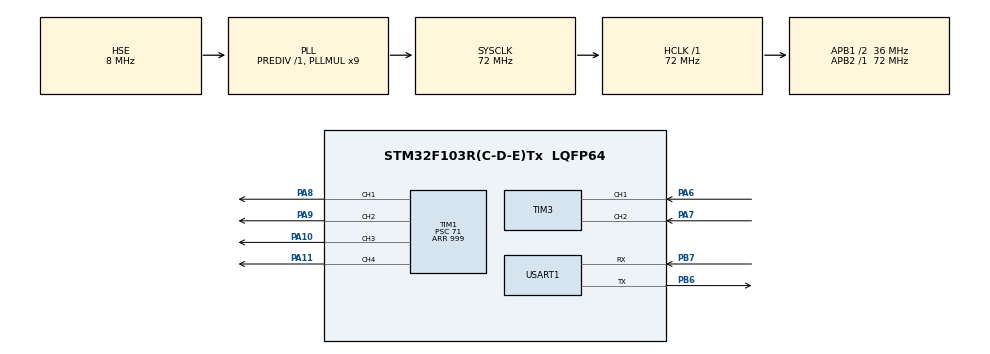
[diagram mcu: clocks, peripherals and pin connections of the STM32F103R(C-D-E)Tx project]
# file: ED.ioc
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Mcu.Family=STM32F1
Mcu.Name=STM32F103R(C-D-E)Tx
Mcu.Package=LQFP64
NVIC.PriorityGroup=NVIC_PRIORITYGROUP_4
NVIC.TIM2_IRQn=true\:0\:0\:false\:false\:true\:true\:true\:true
PA10.Signal=S_TIM1_CH3
PA11.Signal=S_TIM1_CH4
PA13.Mode=Serial_Wire
PA13.Signal=SYS_JTMS-SWDIO
PA14.Mode=Serial_Wire
PA14.Signal=SYS_JTCK-SWCLK
PA6.Signal=S_TIM3_CH1
PA7.Signal=S_TIM3_CH2
PA8.Signal=S_TIM1_CH1
PA9.Signal=S_TIM1_CH2
PB6.Mode=Asynchronous
PB6.Signal=USART1_TX
PB7.Mode=Asynchronous
PB7.Signal=USART1_RX
PD0-OSC_IN.Mode=HSE-External-Oscillator
PD0-OSC_IN.Signal=RCC_OSC_IN
PD1-OSC_OUT.Mode=HSE-External-Oscillator
PD1-OSC_OUT.Signal=RCC_OSC_OUT
ProjectManager.HeapSize=0x200
ProjectManager.StackSize=0x400
ProjectManager.TargetToolchain=Makefile
RCC.AHBFreq_Value=72000000
RCC.APB1CLKDivider=RCC_HCLK_DIV2
RCC.APB1Freq_Value=36000000
RCC.APB1TimFreq_Value=72000000
RCC.APB2Freq_Value=72000000
RCC.APB2TimFreq_Value=72000000
RCC.HCLKFreq_Value=72000000
RCC.PLLMUL=RCC_PLL_MUL9
RCC.PLLSourceVirtual=RCC_PLLSOURCE_HSE
RCC.SYSCLKFreq_VALUE=72000000
RCC.SYSCLKSource=RCC_SYSCLKSOURCE_PLLCLK
RCC.USBFreq_Value=72000000
SH.S_TIM1_CH1.0=TIM1_CH1,Output Compare1 CH1
SH.S_TIM1_CH2.0=TIM1_CH2,Output Compare2 CH2
SH.S_TIM1_CH3.0=TIM1_CH3,Output Compare3 CH3
SH.S_TIM1_CH4.0=TIM1_CH4,Output Compare4 CH4
SH.S_TIM3_CH1.0=TIM3_CH1,Encoder_Interface
SH.S_TIM3_CH2.0=TIM3_CH2,Encoder_Interface
TIM1.Channel-Output\ Compare1\ CH1=TIM_CHANNEL_1
TIM1.Channel-Output\ Compare2\ CH2=TIM_CHANNEL_2
TIM1.Channel-Output\ Compare3\ CH3=TIM_CHANNEL_3
TIM1.Channel-Output\ Compare4\ CH4=TIM_CHANNEL_4
TIM1.Period=999
TIM1.Prescaler=71
TIM2.Period=9999
TIM2.Prescaler=71
TIM3.EncoderMode=TIM_ENCODERMODE_TI12
USART1.VirtualMode=VM_ASYNC
VP_TIM1_VS_ClockSourceINT.Mode=Internal
VP_TIM2_VS_ClockSourceINT.Mode=Internal
board=custom

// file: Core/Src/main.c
/* USER CODE BEGIN Header */
/**
 ******************************************************************************
 * @file           : main.c
 * @brief          : Main program body
 ******************************************************************************
 * @attention
 *
 * Copyright (c) 2023 STMicroelectronics.
 * All rights reserved.
 *
 * This software is licensed under terms that can be found in the LICENSE file
 * in the root directory of this software component.
 * If no LICENSE file comes with this software, it is provided AS-IS.
 *
 ******************************************************************************
 */
/* USER CODE END Header */
#include "main.h"
#include "gpio.h"
#include "tim.h"
#include "usart.h"

void SystemClock_Config(void);

/* USER CODE BEGIN 0 */
#define PID_MAX 1000  // 改成自己设定的PWM波的单波最长输出时间
#define PID_MIN -1000 // 改成自己设定的PWM波的单波最长输出时间的相反数
typedef struct
{
    float sum; // 误差关于时间的积分
    float lr;  // 上一次的速度
    float Kp;
    float Ki;
    float Kd;
} pidstr;
pidstr pidparm;                // 用于保存PID参数和用于计算PWM占空比的量
float rset = 5;                // 设置目标转速
float pid(pidstr *a, float dr) // 用于更新PWM的占空比
{
    a->sum = a->sum + dr;
    float pwm = a->Kp * dr + a->Ki * a->sum + a->Kd * (dr - a->lr);
    a->lr = dr;
    if (pwm >= PID_MAX)
    {
        return PID_MAX;
    }
    else if (pwm <= PID_MIN)
    {
        return PID_MIN;
    }
    else
    {
        return pwm;
    }
}

HAL_TIM_PeriodElapsedCallback(TIM_HandleTypeDef *htim)
{
    if (htim->Instance == TIM2)
    {
        int cnt = __HAL_TIM_GetCounter(&htim3);
        __HAL_TIM_SetCounter(&htim3, 0);
        float rnow = cnt / 10.8; // 这个参数建议自己手动测量一下，否则会有一定的误差
        u1_printf("%f,%f\n", rnow, rset);
        float dr = rset - rnow;
        float pwm = pid(&pidparm, dr);
        __HAL_TIM_SetCompare(&htim1, TIM_CHANNEL_1, pwm);
    }
}
/* USER CODE END 0 */

int main(void)
{

    /* MCU Configuration--------------------------------------------------------*/

    /* Reset of all peripherals, Initializes the Flash interface and the Systick. */
    HAL_Init();

    /* Configure the system clock */
    SystemClock_Config();

    /* Initialize all configured peripherals */
    MX_GPIO_Init();
    MX_TIM1_Init();
    MX_TIM2_Init();
    MX_TIM3_Init();
    MX_USART1_UART_Init();
    /* USER CODE BEGIN 2 */
    HAL_TIM_Base_Start_IT(&htim2);                  // 使能定时器2
    HAL_TIM_PWM_Start(&htim1, TIM_CHANNEL_1);       // 使能定时器1的通道1，设定为PWM输出
    HAL_TIM_Encoder_Start(&htim3, TIM_CHANNEL_ALL); // 使能编码器时钟3
    pidparm.Kd = 500;
    pidparm.Ki = 15;
    pidparm.Kp = 500;
    pidparm.lr = 0;
    pidparm.sum = 0;
    /* USER CODE END 2 */

    /* Infinite loop */
    while (1)
    {

    }
}

void SystemClock_Config(void)
{
    RCC_OscInitTypeDef RCC_OscInitStruct = {0};
    RCC_ClkInitTypeDef RCC_ClkInitStruct = {0};

    /** Initializes the RCC Oscillators according to the specified parameters
     * in the RCC_OscInitTypeDef structure.
     */
    RCC_OscInitStruct.OscillatorType = RCC_OSCILLATORTYPE_HSE;
    RCC_OscInitStruct.HSEState = RCC_HSE_ON;
    RCC_OscInitStruct.HSEPredivValue = RCC_HSE_PREDIV_DIV1;
    RCC_OscInitStruct.HSIState = RCC_HSI_ON;
    RCC_OscInitStruct.PLL.PLLState = RCC_PLL_ON;
    RCC_OscInitStruct.PLL.PLLSource = RCC_PLLSOURCE_HSE;
    RCC_OscInitStruct.PLL.PLLMUL = RCC_PLL_MUL9;
    if (HAL_RCC_OscConfig(&RCC_OscInitStruct) != HAL_OK)
    {
        Error_Handler();
    }

    /** Initializes the CPU, AHB and APB buses clocks
     */
    RCC_ClkInitStruct.ClockType = RCC_CLOCKTYPE_HCLK | RCC_CLOCKTYPE_SYSCLK | RCC_CLOCKTYPE_PCLK1 | RCC_CLOCKTYPE_PCLK2;
    RCC_ClkInitStruct.SYSCLKSource = RCC_SYSCLKSOURCE_PLLCLK;
    RCC_ClkInitStruct.AHBCLKDivider = RCC_SYSCLK_DIV1;
    RCC_ClkInitStruct.APB1CLKDivider = RCC_HCLK_DIV2;
    RCC_ClkInitStruct.APB2CLKDivider = RCC_HCLK_DIV1;

    if (HAL_RCC_ClockConfig(&RCC_ClkInitStruct, FLASH_LATENCY_2) != HAL_OK)
    {
        Error_Handler();
    }
}

void Error_Handler(void)
{
    __disable_irq();
    while (1)
    {
    }
}
